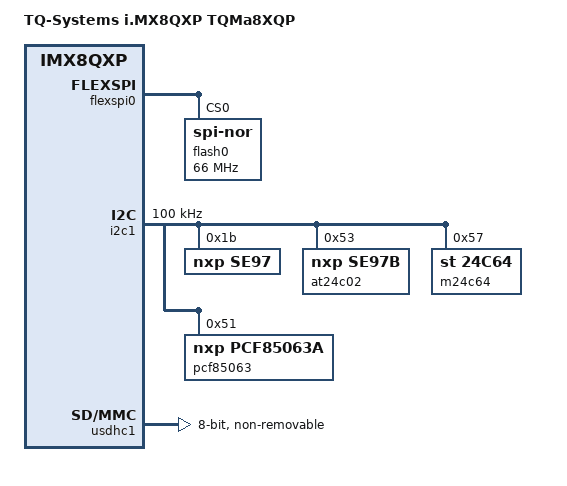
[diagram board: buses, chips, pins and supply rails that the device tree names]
// SPDX-License-Identifier: GPL-2.0-or-later OR MIT
/*
 * Copyright 2018 - 2020 TQ-Systems GmbH
 */

#include "fsl-imx8qxp.dtsi"

/ {
	model = "TQ-Systems i.MX8QXP TQMa8XQP";
	compatible = "tq,imx8qxp-tqma8xqp", "fsl,imx8qxp";
	
	config {
		/* 32 kiB redundant env */
		u-boot,mmc-env-offset = <0x400000>;
		u-boot,mmc-env-offset-redundant = <0x408000>;
	};
};

&iomuxc {
	pinctrl_lpi2c1: lpi2c1grp {
		fsl,pins = <
			SC_P_MIPI_DSI0_GPIO0_00_ADMA_I2C1_SCL	0x06000021
			SC_P_MIPI_DSI0_GPIO0_01_ADMA_I2C1_SDA	0x06000021
		>;
	};

	pinctrl_usdhc1: usdhc1grp {
		fsl,pins = <
			SC_P_EMMC0_CLK_CONN_EMMC0_CLK		0x06000041
			SC_P_EMMC0_CMD_CONN_EMMC0_CMD		0x00000021
			SC_P_EMMC0_DATA0_CONN_EMMC0_DATA0	0x00000021
			SC_P_EMMC0_DATA1_CONN_EMMC0_DATA1	0x00000021
			SC_P_EMMC0_DATA2_CONN_EMMC0_DATA2	0x00000021
			SC_P_EMMC0_DATA3_CONN_EMMC0_DATA3	0x00000021
			SC_P_EMMC0_DATA4_CONN_EMMC0_DATA4	0x00000021
			SC_P_EMMC0_DATA5_CONN_EMMC0_DATA5	0x00000021
			SC_P_EMMC0_DATA6_CONN_EMMC0_DATA6	0x00000021
			SC_P_EMMC0_DATA7_CONN_EMMC0_DATA7	0x00000021
			SC_P_EMMC0_STROBE_CONN_EMMC0_STROBE	0x00000041
		>;
	};

	pinctrl_usdhc1_100mhz: usdhc1grp100mhz {
		fsl,pins = <
			SC_P_EMMC0_CLK_CONN_EMMC0_CLK		0x06000040
			SC_P_EMMC0_CMD_CONN_EMMC0_CMD		0x00000020
			SC_P_EMMC0_DATA0_CONN_EMMC0_DATA0	0x00000020
			SC_P_EMMC0_DATA1_CONN_EMMC0_DATA1	0x00000020
			SC_P_EMMC0_DATA2_CONN_EMMC0_DATA2	0x00000020
			SC_P_EMMC0_DATA3_CONN_EMMC0_DATA3	0x00000020
			SC_P_EMMC0_DATA4_CONN_EMMC0_DATA4	0x00000020
			SC_P_EMMC0_DATA5_CONN_EMMC0_DATA5	0x00000020
			SC_P_EMMC0_DATA6_CONN_EMMC0_DATA6	0x00000020
			SC_P_EMMC0_DATA7_CONN_EMMC0_DATA7	0x00000020
			SC_P_EMMC0_STROBE_CONN_EMMC0_STROBE	0x00000040
		>;
	};

	pinctrl_usdhc1_200mhz: usdhc1grp200mhz {
		fsl,pins = <
			SC_P_EMMC0_CLK_CONN_EMMC0_CLK		0x06000040
			SC_P_EMMC0_CMD_CONN_EMMC0_CMD		0x00000020
			SC_P_EMMC0_DATA0_CONN_EMMC0_DATA0	0x00000020
			SC_P_EMMC0_DATA1_CONN_EMMC0_DATA1	0x00000020
			SC_P_EMMC0_DATA2_CONN_EMMC0_DATA2	0x00000020
			SC_P_EMMC0_DATA3_CONN_EMMC0_DATA3	0x00000020
			SC_P_EMMC0_DATA4_CONN_EMMC0_DATA4	0x00000020
			SC_P_EMMC0_DATA5_CONN_EMMC0_DATA5	0x00000020
			SC_P_EMMC0_DATA6_CONN_EMMC0_DATA6	0x00000020
			SC_P_EMMC0_DATA7_CONN_EMMC0_DATA7	0x00000020
			SC_P_EMMC0_STROBE_CONN_EMMC0_STROBE	0x00000040
		>;
	};

	pinctrl_flexspi0: flexspi0grp {
		fsl,pins = <
			SC_P_QSPI0A_DATA0_LSIO_QSPI0A_DATA0	0x0600004d
			SC_P_QSPI0A_DATA1_LSIO_QSPI0A_DATA1	0x0600004d
			SC_P_QSPI0A_DATA2_LSIO_QSPI0A_DATA2	0x0600004d
			SC_P_QSPI0A_DATA3_LSIO_QSPI0A_DATA3	0x0600004d
			SC_P_QSPI0A_DQS_LSIO_QSPI0A_DQS		0x0600004d
			SC_P_QSPI0A_SS0_B_LSIO_QSPI0A_SS0_B	0x0600004d
			SC_P_QSPI0A_SCLK_LSIO_QSPI0A_SCLK	0x0600004d
			SC_P_QSPI0B_SCLK_LSIO_QSPI0B_SCLK	0x0600004d
			SC_P_QSPI0B_DATA0_LSIO_QSPI0B_DATA0	0x0600004d
			SC_P_QSPI0B_DATA1_LSIO_QSPI0B_DATA1	0x0600004d
			SC_P_QSPI0B_DATA2_LSIO_QSPI0B_DATA2	0x0600004d
			SC_P_QSPI0B_DATA3_LSIO_QSPI0B_DATA3	0x0600004d
			SC_P_QSPI0B_DQS_LSIO_QSPI0B_DQS		0x0600004d
			SC_P_QSPI0B_SS0_B_LSIO_QSPI0B_SS0_B	0x0600004d
			SC_P_QSPI0B_SS1_B_LSIO_QSPI0B_SS1_B	0x0600004d
		>;
	};
};

&flexspi0 {
	pinctrl-names = "default";
	pinctrl-0 = <&pinctrl_flexspi0>;
	status = "okay";

	flash0: flash@0 {
		reg = <0>;
		#address-cells = <1>;
		#size-cells = <1>;
		compatible = "jedec,spi-nor";
		spi-max-frequency = <66000000>;
		spi-nor,ddr-quad-read-dummy = <8>;
		spi-tx-bus-width = <4>;
		spi-rx-bus-width = <4>;
		macronix,dsr = <0x3>;
	};
};

&gpio0 {
	status = "okay";
};

&gpio1 {
	status = "okay";
};

&gpio3 {
	status = "okay";
};

&gpio4 {
	status = "okay";
};

&i2c1 {
	#address-cells = <1>;
	#size-cells = <0>;
	clock-frequency = <100000>;
	pinctrl-names = "default";
	pinctrl-0 = <&pinctrl_lpi2c1>;
	status = "okay";

	/* NXP SE97BTP with temperature sensor + eeprom */
	se97: temperature-sensor-eeprom@1b {
		compatible = "nxp,se97", "jedec,jc-42.4-temp";
		reg = <0x1b>;
		status = "okay";
	};

	at24c02: eeprom@53 {
		compatible = "nxp,se97b", "atmel,24c02";
		reg = <0x53>;
		pagesize = <16>;
		status = "okay";
	};

	m24c64: eeprom@57 {
		compatible = "st,24c64", "atmel,24c64";
		reg = <0x57>;
		pagesize = <32>;
		status = "okay";
	};

	pcf85063: rtc@51 {
		compatible = "nxp,pcf85063a";
		reg = <0x51>;
	};
};

&usdhc1 {
	pinctrl-names = "default", "state_100mhz", "state_200mhz";
	pinctrl-0 = <&pinctrl_usdhc1>;
	pinctrl-1 = <&pinctrl_usdhc1_100mhz>;
	pinctrl-2 = <&pinctrl_usdhc1_200mhz>;
	bus-width = <8>;
	no-sd;
	no-sdio;
	non-removable;
	status = "okay";
};
